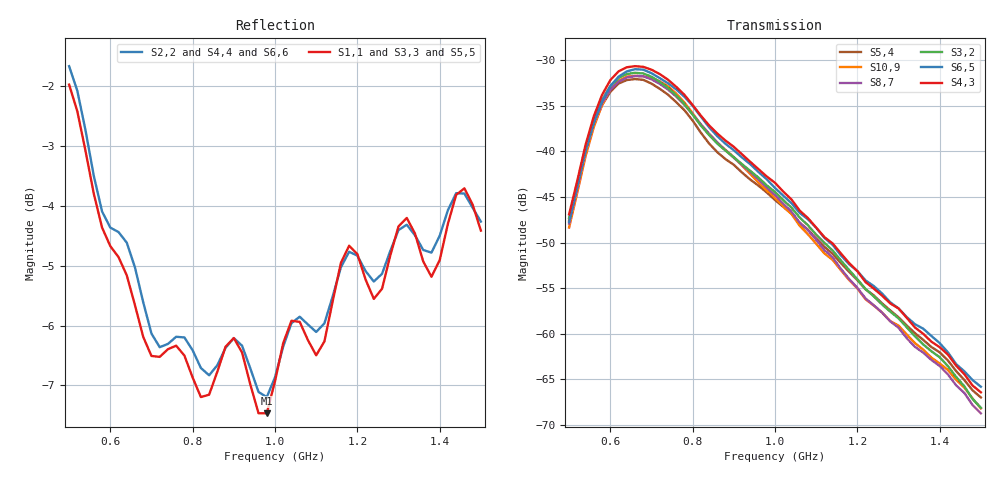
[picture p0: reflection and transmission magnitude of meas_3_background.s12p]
! Converted from meas_3_background.mat
! MATLAB 5.0 MAT-file, Platform: PCWIN64, Created on: Sat Nov 21 15:06:07 2026
! Ports 1-12 = antennas 1-12; IFBW=1000 Hz, power=0 dBm, doCalibration flag=1
! SW_A serial 12410080206: antennas 1 3 5 7 9 11
! SW_B serial 12410080235: antennas 2 4 6 8 10 12
! WARNING: Sij (i!=j) between two odd or two even ports was NOT MEASURED (NaN in source).
! Those entries are written as 0 0 placeholders. Do not treat them as data.
! Reference impedance 50 ohm is assumed (not stored in source).
# Hz S RI R 50
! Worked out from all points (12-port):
!   51 points, 500 MHz to 1.5 GHz, reference 50 ohm
!   strongest paths, dB at 500 MHz, 740 MHz, 1 GHz, 1.26 GHz, 1.5 GHz:
!     S4,3: -46.9, -32.1, -43.4, -55.8, -66.4
!     S6,5: -47.7, -32.5, -44.0, -55.6, -65.8
!     S3,2: -47.3, -33.0, -44.5, -56.8, -68.1
!     S8,7: -47.9, -33.2, -44.8, -57.7, -68.8
!     S10,9: -48.4, -32.8, -45.1, -57.7, -68.2
!     S5,4: -47.6, -33.8, -45.3, -56.7, -67.0
!   lowest |S11| = -7.5 dB at 980 MHz (marker M1), VSWR 2.47, Z = 26.9 - j25.3 ohm
!   |S11| at or under -10 dB: nowhere
